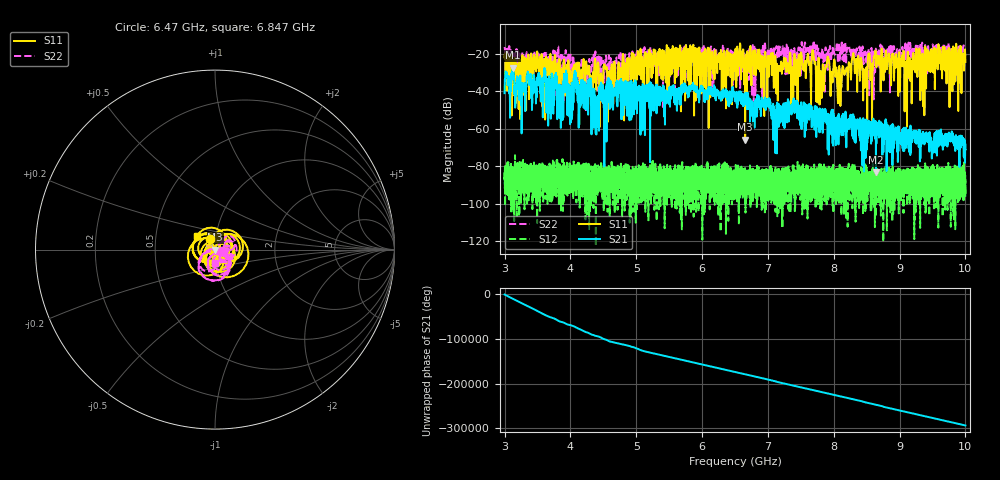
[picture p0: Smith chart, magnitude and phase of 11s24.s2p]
!Agilent Technologies,E8363B,MY43030572,A.06.04.32
!Agilent E8363B: A.06.04.32
!Date: Tuesday, June 07, 2011 09:36:21
!Correction: S11(Full 2 Port(1,2)) S21(Full 2 Port(1,2)) S12(Full 2 Port(1,2)) S22(Full 2 Port(1,2))
!S2P File: Measurements: S11, S21, S12, S22:
# Hz S  dB  R 50
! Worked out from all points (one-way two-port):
!   6401 points, 3 GHz to 10 GHz, reference 50 ohm
!   highest |S21| = -27.21 dB at 3.121 GHz (marker M1); lowest = -83.1 dB at 8.64 GHz (marker M2)
!   lowest |S11| = -65.7 dB at 6.654 GHz (marker M3), VSWR 1.00, Z = 50 + j0.0219 ohm
!   |S11| at or under -10 dB: start of sweep to end of sweep
!   |S22| runs from -51.3 to -12.7 dB; largest |S21 - S12| = 0.044
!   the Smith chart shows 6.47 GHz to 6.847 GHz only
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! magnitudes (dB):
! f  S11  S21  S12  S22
! 3 GHz  -21.7  -40.9  -83.5  -16.2
! 3.121 GHz  -24.3  -27.2  -81.0  -22.2
! 3.284 GHz  -29.8  -37.1  -88.4  -27.7
! 3.368 GHz  -26.6  -33.7  -84.1  -22.2
! 4.167 GHz  -28.8  -40.8  -95.7  -24.0
! 4.283 GHz  -26.3  -34.9  -83.4  -23.3
! 4.399 GHz  -32.7  -50.3  -85.3  -22.6
! 4.466 GHz  -30.5  -37.7  -88.0  -27.7
! 4.528 GHz  -26.7  -44.6  -85.6  -25.6
! 4.586 GHz  -31.4  -34.2  -88.5  -20.8
! 5.334 GHz  -19.7  -39.5  -87.9  -25.3
! 6.5 GHz  -23.1  -41.9  -82.8  -24.1
! 6.654 GHz  -65.7  -42.1  -95.2  -25.8
! 7.667 GHz  -21.6  -55.5  -90.1  -16.7
! 7.819 GHz  -40.8  -52.1  -92.7  -21.0
! 7.907 GHz  -21.5  -60.8  -87.1  -26.8
! 8.086 GHz  -26.5  -56.5  -83.8  -19.8
! 8.275 GHz  -23.3  -59.1  -84.7  -18.5
! 8.476 GHz  -32.5  -74.2  -89.1  -20.2
! 8.64 GHz  -20.6  -83.1  -84.7  -17.1
! 8.834 GHz  -20.2  -69.0  -93.7  -20.7
! 10 GHz  -24.2  -71.2  -87.8  -21.0
